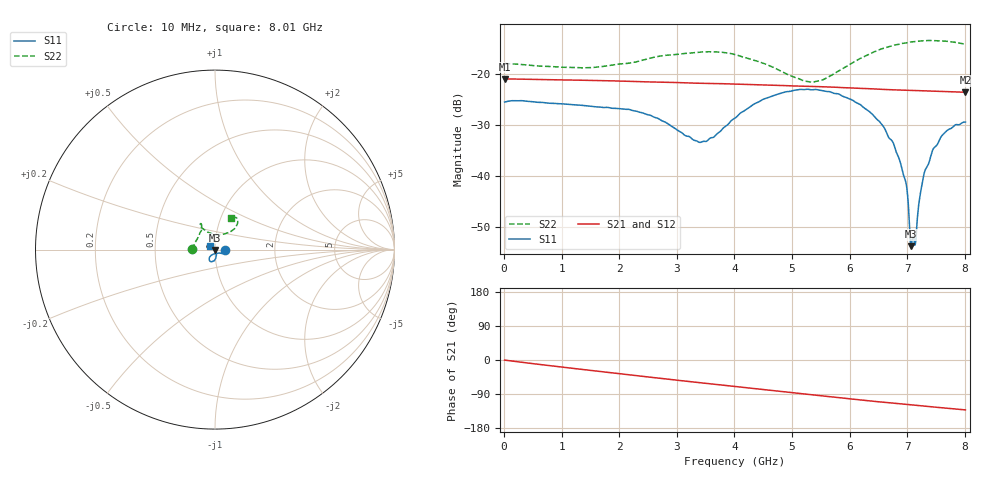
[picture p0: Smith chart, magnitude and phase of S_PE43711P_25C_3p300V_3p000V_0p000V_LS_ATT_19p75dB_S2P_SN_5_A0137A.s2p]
! Device ID: PE43711P
! File Path: z:\PE43711P\CHAR_NOM_04282014\AMB\3p300\LS_ATT_19p75dB\PE43711P_AMB_3p300V_3p000V_0p000V_LS_ATT_19p75dB_S2P_SN_5_A0137A.s2p
! Serial: 5
! Lot: A0137A
! Temp: 25C
! VDD: 3.300
! VSS: 0.000
! Control_Hi: 3.000
! Control_Lo: 0.000
! Attenuation Step: 19.75dB
! Port 1: RF1
! Port 2: RF2
! ThroughPath:1-2
! IDD: 0.0001275059
! ISS: -1.071e-007
#  Hz  S  RI  R  50
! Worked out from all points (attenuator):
!   801 points, 10 MHz to 8.01 GHz, reference 50 ohm
!   highest |S21| = -20.94 dB at 20 MHz (marker M1); lowest = -23.5 dB at 8.01 GHz (marker M2)
!   lowest |S11| = -53.7 dB at 7.07 GHz (marker M3), VSWR 1.00, Z = 49.9 - j0.181 ohm
!   |S11| at or under -10 dB: start of sweep to end of sweep
!   |S22| runs from -21.6 to -13.4 dB; largest |S21 - S12| = 0.00019
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1e7  0.0533 0.00017  0.0897 -0.0004  0.0898 -0.000422  -0.1277 0.000984
2e7  0.0535 0.000141  0.0897 -0.000608  0.0897 -0.00064  -0.1274 0.00157
1.35e9  0.0458 -0.0188  0.0791 -0.0365  0.0792 -0.0366  -0.1004 0.0565
2.17e9  0.0396 -0.0218  0.0659 -0.0538  0.0659 -0.0538  -0.079 0.1007
2.68e9  0.0308 -0.0198  0.0561 -0.0618  0.0561 -0.0619  -0.0744 0.1296
3.41e9  0.00539 -0.0208  0.0406 -0.0704  0.0407 -0.0704  -0.0777 0.1448
4.01e9  -0.0199 -0.0313  0.0274 -0.0751  0.0273 -0.0751  -0.0821 0.1319
4.67e9  -0.0324 -0.0522  0.0123 -0.077  0.0123 -0.0769  -0.0522 0.1046
5.35e9  -0.0223 -0.0666  -0.00245 -0.0757  -0.00242 -0.0758  0.0083 0.0829
6.17e9  0.00274 -0.0508  -0.0189 -0.0701  -0.019 -0.0702  0.0943 0.1049
6.54e9  0.00752 -0.0323  -0.0252 -0.0664  -0.0252 -0.0665  0.1184 0.1298
6.68e9  0.00643 -0.023  -0.0272 -0.0651  -0.0272 -0.0651  0.1229 0.1392
6.79e9  0.006 -0.0177  -0.0289 -0.0639  -0.0288 -0.0639  0.1256 0.1466
6.96e9  0.00234 -0.00909  -0.0313 -0.0621  -0.0312 -0.0622  0.1266 0.1563
6.99e9  0.00265 -0.00744  -0.0317 -0.0618  -0.0316 -0.0619  0.1272 0.1579
7.07e9  -0.000994 -0.00181  -0.0328 -0.061  -0.0328 -0.061  0.1263 0.1635
7.1e9  -0.00209 -0.00148  -0.0333 -0.0607  -0.0332 -0.0607  0.1258 0.1646
7.13e9  -0.00206 -0.000476  -0.0337 -0.0604  -0.0337 -0.0604  0.1257 0.1661
7.27e9  -0.00617 0.00686  -0.0356 -0.0588  -0.0356 -0.0588  0.1226 0.1735
7.45e9  -0.0123 0.0137  -0.038 -0.0566  -0.0379 -0.0566  0.1146 0.1795
7.68e9  -0.0197 0.0194  -0.0406 -0.0537  -0.0407 -0.0537  0.1034 0.1828
8.01e9  -0.026 0.0217  -0.0442 -0.0496  -0.0444 -0.0496  0.0889 0.1748
